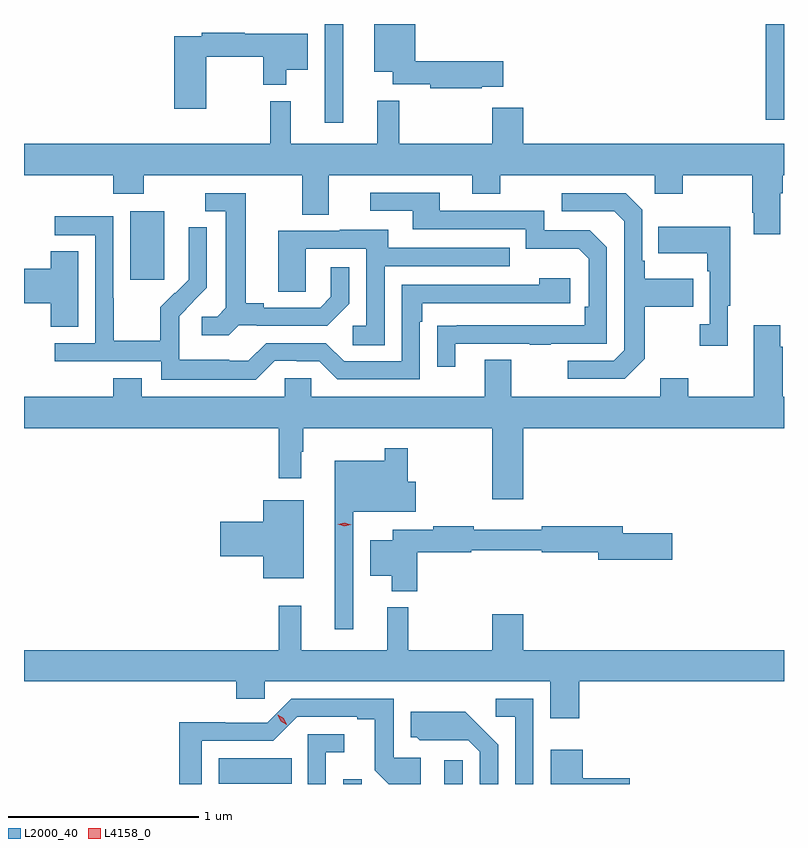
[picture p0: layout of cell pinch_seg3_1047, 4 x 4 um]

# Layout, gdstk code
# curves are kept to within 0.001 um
import gdstk
lib = gdstk.Library(unit=1e-6, precision=1e-09)
def R(c, l, rs):  # rectangles x0, y0, x1, y1
    for r in rs: c.add(gdstk.rectangle(r[:2], r[2:], *l))
def P(c, l, *ps):  # polygons
    for p in ps: c.add(gdstk.Polygon(p, *l))
L2000_40 = (2000, 40)
L4158_0 = (4158, 0)

pinch_seg3_1047 = lib.new_cell('pinch_seg3_1047')
R(pinch_seg3_1047, L2000_40, [(344.043,715.027,344.141,715.052), (344.577,715.027,344.673,715.153), (343.388,715.028,343.772,715.162), (342.923,717.681,343.102,718.042), (343.947,718.506,344.044,719.027), (346.267,718.524,346.364,719.027)])
P(pinch_seg3_1047, L2000_40, [(344.774,718.697),(344.887,718.697),(344.887,718.832),(344.422,718.832),(344.422,719.027),(344.207,719.027),(344.207,718.775),(344.306,718.775),(344.306,718.709),(344.502,718.709),(344.502,718.69),(344.774,718.69)],
  [(343.324,718.854),(343.622,718.854),(343.622,718.706),(343.744,718.706),(343.744,718.787),(343.858,718.787),(343.858,718.975),(343.526,718.975),(343.526,718.982),(343.3,718.982),(343.3,718.962),(343.154,718.962),(343.154,718.581),(343.324,718.581)],
  [(346.345,718.136),(346.358,718.136),(346.358,718.232),(346.364,718.232),(346.364,718.396),(344.992,718.396),(344.992,718.585),(344.828,718.585),(344.828,718.396),(344.339,718.396),(344.339,718.624),(344.222,718.624),(344.222,718.396),(343.769,718.396),(343.769,718.621),(343.659,718.621),(343.659,718.396),(342.364,718.396),(342.364,718.232),(342.833,718.232),(342.833,718.133),(342.993,718.133),(342.993,718.232),(343.829,718.232),(343.829,718.024),(343.969,718.024),(343.969,718.232),(344.723,718.232),(344.723,718.133),(344.871,718.133),(344.871,718.232),(345.684,718.232),(345.684,718.133),(345.831,718.133),(345.831,718.232),(346.198,718.232),(346.198,718.033),(346.205,718.033),(346.205,717.921),(346.345,717.921)],
  [(344.635,717.345),(345.025,717.345),(345.025,717.34),(345.137,717.34),(345.137,717.345),(345.432,717.345),(345.432,717.852),(345.342,717.942),(345.102,717.942),(345.102,718.044),(344.551,718.044),(344.551,718.14),(344.187,718.14),(344.187,718.044),(344.411,718.044),(344.411,717.948),(345.006,717.948),(345.006,717.845),(345.283,717.845),(345.336,717.792),(345.336,717.538),(345.316,717.538),(345.316,717.441),(344.539,717.44),(344.539,717.222),(344.635,717.222)],
  [(345.631,717.265),(345.631,717.538),(345.887,717.538),(345.887,717.685),(345.631,717.685),(345.631,717.781),(345.618,717.781),(345.618,718.05),(345.531,718.137),(345.195,718.137),(345.195,718.041),(345.471,718.041),(345.522,717.99),(345.522,717.309),(345.468,717.255),(345.225,717.255),(345.225,717.159),(345.525,717.159)],
  [(343.494,717.441),(343.588,717.441),(343.588,717.438),(343.96,717.438),(344.076,717.554),(344.076,717.748),(343.979,717.748),(343.979,717.591),(343.922,717.534),(343.627,717.534),(343.627,717.557),(343.531,717.557),(343.531,718.137),(343.317,718.137),(343.317,718.041),(343.427,718.041),(343.427,717.533),(343.38,717.486),(343.299,717.486),(343.299,717.389),(343.442,717.389)],
  [(343.683,717.255),(343.799,717.255),(343.799,717.252),(343.917,717.252),(344.013,717.156),(344.448,717.156),(344.448,717.461),(344.461,717.461),(344.461,717.558),(345.238,717.558),(345.238,717.688),(345.077,717.688),(345.077,717.654),(344.352,717.654),(344.352,717.252),(344.049,717.252),(343.953,717.348),(343.638,717.348),(343.545,717.255),(343.445,717.255),(343.445,717.259),(343.182,717.259),(343.182,717.393),(343.18,717.393),(343.18,717.49),(343.326,717.638),(343.326,717.956),(343.23,717.956),(343.23,717.802),(343.232,717.802),(343.232,717.68),(343.161,717.609),(343.158,717.612),(343.081,717.535),(343.081,717.361),(342.837,717.361),(342.837,717.584),(342.834,717.584),(342.834,718.014),(342.525,718.014),(342.525,717.915),(342.738,717.915),(342.738,717.348),(342.525,717.348),(342.525,717.252),(343.086,717.252),(343.086,717.155),(343.583,717.155)],
  [(346.069,717.545),(346.081,717.545),(346.081,717.961),(345.703,717.961),(345.703,717.821),(345.96,717.821),(345.96,717.725),(345.972,717.725),(345.972,717.446),(345.921,717.446),(345.921,717.333),(346.069,717.333)],
  [(344.262,717.753),(344.921,717.753),(344.921,717.849),(344.281,717.849),(344.281,717.943),(344.027,717.943),(344.027,717.939),(343.703,717.939),(343.703,717.619),(343.848,717.619),(343.848,717.843),(344.166,717.843),(344.166,717.438),(344.094,717.438),(344.094,717.337),(344.262,717.337)],
  [(342.649,717.83),(342.506,717.83),(342.506,717.74),(342.364,717.74),(342.364,717.557),(342.506,717.557),(342.506,717.433),(342.649,717.433)],
  [(343.737,717.064),(342.985,717.064),(342.985,717.163),(342.833,717.163),(342.833,717.064),(342.364,717.064),(342.364,716.9),(343.705,716.9),(343.705,716.637),(343.822,716.637),(343.822,716.777),(343.834,716.777),(343.834,716.9),(344.828,716.9),(344.828,716.526),(344.992,716.526),(344.992,716.9),(346.364,716.9),(346.364,717.064),(346.358,717.064),(346.358,717.329),(346.345,717.329),(346.345,717.442),(346.205,717.442),(346.205,717.064),(345.861,717.064),(345.861,717.163),(345.713,717.163),(345.713,717.064),(344.929,717.064),(344.929,717.259),(344.789,717.259),(344.789,717.064),(343.875,717.064),(343.875,717.162),(343.737,717.162)],
  [(344.097,716.459),(344.425,716.459),(344.425,716.617),(344.383,716.617),(344.383,716.794),(344.262,716.794),(344.262,716.728),(344,716.728),(344,715.842),(344.097,715.842)],
  [(343.837,716.521),(343.622,716.521),(343.622,716.408),(343.398,716.408),(343.398,716.225),(343.622,716.225),(343.622,716.111),(343.837,716.111)],
  [(344.435,716.248),(344.718,716.248),(344.718,716.256),(345.09,716.256),(345.09,716.248),(345.386,716.248),(345.386,716.206),(345.775,716.206),(345.775,716.348),(345.514,716.348),(345.514,716.384),(345.088,716.384),(345.088,716.365),(344.732,716.365),(344.732,716.384),(344.518,716.384),(344.518,716.364),(344.306,716.364),(344.306,716.311),(344.186,716.311),(344.186,716.123),(344.3,716.123),(344.3,716.042),(344.435,716.042)],
  [(345.287,715.568),(346.364,715.568),(346.364,715.732),(344.992,715.732),(344.992,715.921),(344.828,715.921),(344.828,715.732),(344.386,715.732),(344.386,715.957),(344.276,715.957),(344.276,715.732),(343.823,715.732),(343.823,715.966),(343.705,715.966),(343.705,715.732),(342.364,715.732),(342.364,715.568),(343.481,715.568),(343.481,715.475),(343.632,715.475),(343.632,715.568),(345.134,715.568),(345.134,715.374),(345.287,715.374)],
  [(345.045,715.476),(344.847,715.476),(344.847,715.38),(344.949,715.38),(344.949,715.027),(345.045,715.027)],
  [(343.3,715.254),(343.677,715.254),(343.803,715.38),(344.117,715.38),(344.117,715.368),(344.211,715.368),(344.211,715.1),(344.284,715.027),(344.452,715.027),(344.452,715.164),(344.31,715.164),(344.31,715.476),(343.77,715.476),(343.644,715.35),(343.422,715.35),(343.422,715.352),(343.182,715.352),(343.182,715.027),(343.3,715.027)],
  [(344.859,715.234),(344.687,715.408),(344.399,715.408),(344.399,715.272),(344.43,715.272),(344.446,715.256),(344.703,715.257),(344.763,715.197),(344.763,715.027),(344.859,715.027)],
  [(343.953,715.193),(344.05,715.193),(344.05,715.29),(343.857,715.29),(343.857,715.027),(343.953,715.027)],
  [(345.553,715.058),(345.304,715.058),(345.304,715.207),(345.137,715.207),(345.137,715.027),(345.553,715.027)])
P(pinch_seg3_1047, L4158_0, [(344.05,716.383),(344.016,716.395),(344.015,716.395),(344.016,716.395),(344.051,716.403),(344.086,716.392),(344.086,716.391),(344.086,716.391)],
  [(343.748,715.339),(343.716,715.358),(343.699,715.39),(343.699,715.391),(343.699,715.391),(343.731,715.372),(343.748,715.339),(343.748,715.339)])

lib.write_gds('pinch_seg3_1047.gds')
